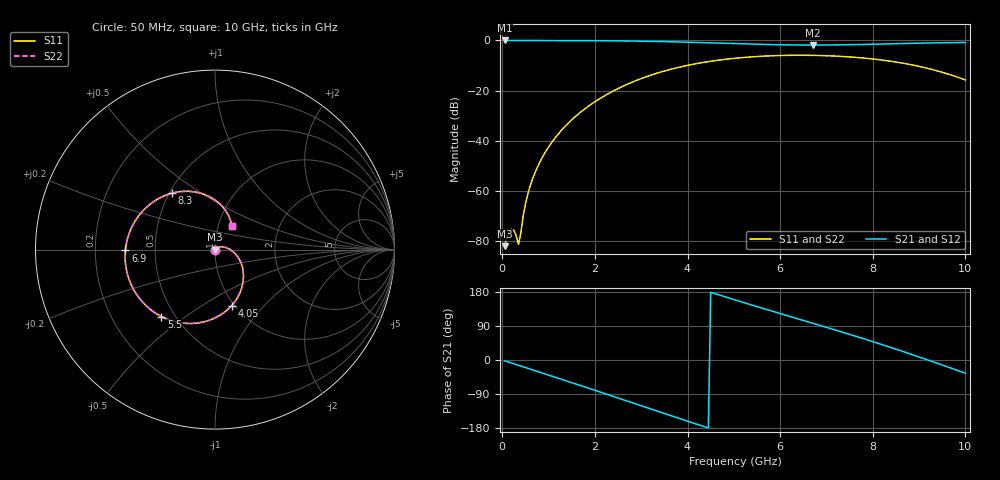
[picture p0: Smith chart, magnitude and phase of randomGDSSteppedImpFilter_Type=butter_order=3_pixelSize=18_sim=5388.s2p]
! freq	dB(S11)	phase(S11)	dB(S12)	phase(S12)
!  dB(S21)	phase(S21)	dB(S22)	phase(S22)
!S-par simulation data
#  GHz  S  DB  R 50
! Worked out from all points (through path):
!   200 points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, 50 MHz to 10 GHz, reference 50 ohm
!   highest |S21| = 0.00 dB at 50 MHz (marker M1); lowest = -1.8 dB at 6.7 GHz (marker M2)
!   group delay of S21, straight-line fit = 108 ps
!   lowest |S11| = -82.2 dB at 50 MHz (marker M3), VSWR 1.00, Z = 50 - j0.0061 ohm
!   |S11| at or under -10 dB: start of sweep to 3.987 GHz; 8.91 GHz to end of sweep
!   |S22| runs from -82.4 to -5.9 dB; largest |S21 - S12| = 0
!   S11 on the Smith chart (normalised r, x): 50 MHz: 1.00, -0.00; 4.05 GHz: 0.97, -0.68; 5.5 GHz: 0.42, -0.41; 6.9 GHz: 0.33, -0.00; 8.3 GHz: 0.52, +0.39; 10 GHz: 1.16, +0.32
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0.05  -82.16 -51.4  -0.00 -2.0  -0.00 -2.0  -82.14 -51.4
0.2  -75.42 -94.0  -0.02 -8.0  -0.02 -8.0  -75.39 -92.9
0.25  -75.86 -104.1  -0.02 -10.0  -0.02 -10.0  -75.85 -102.2
0.35  -81.45 -167.3  -0.02 -14.0  -0.02 -14.0  -82.36 -163.9
0.4  -76.94 125.6  -0.03 -16.0  -0.03 -16.0  -77.61 122.2
0.45  -70.19 100.8  -0.03 -18.0  -0.03 -18.0  -70.43 97.9
0.55  -61.41 84.2  -0.03 -22.0  -0.03 -22.0  -61.49 82.6
0.8  -48.97 66.2  -0.04 -31.9  -0.04 -31.9  -48.99 65.4
1.2  -37.55 46.3  -0.05 -47.9  -0.05 -47.9  -37.55 45.8
1.75  -27.78 22.2  -0.08 -69.9  -0.08 -69.9  -27.78 21.8
2.55  -18.76 -11.5  -0.17 -102.4  -0.17 -102.4  -18.76 -11.7
3.4  -12.74 -46.9  -0.41 -137.1  -0.41 -137.1  -12.74 -47.0
4.05  -9.76 -73.3  -0.72 -163.4  -0.72 -163.4  -9.76 -73.4
5.05  -7.07 -112.1  -1.31 157.6  -1.31 157.6  -7.07 -112.1
5.5  -6.41 -128.7  -1.54 140.8  -1.54 140.8  -6.41 -128.8
6.7  -5.95 -172.2  -1.84 97.1  -1.84 97.1  -5.95 -172.2
6.9  -6.03 -179.5  -1.83 89.8  -1.83 89.8  -6.03 -179.5
7.6  -6.71 154.5  -1.67 63.8  -1.67 63.8  -6.71 154.6
8.3  -8.07 127.1  -1.39 36.6  -1.39 36.6  -8.07 127.2
8.35  -8.20 125.1  -1.36 34.6  -1.36 34.6  -8.20 125.2
9.2  -11.22 89.6  -1.00 -0.5  -1.00 -0.5  -11.22 89.7
10  -15.76 54.9  -0.81 -34.9  -0.81 -34.9  -15.77 55.1
